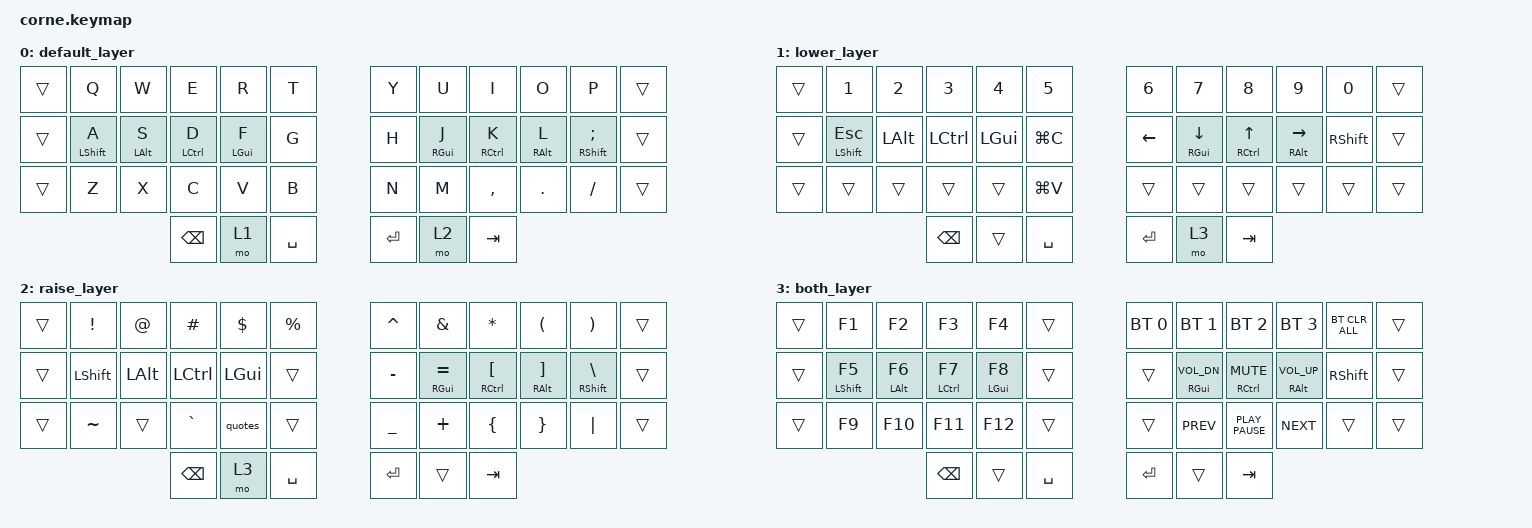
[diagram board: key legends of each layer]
/*
 * Copyright (c) 2020 The ZMK Contributors
 *
 * SPDX-License-Identifier: MIT
 */

#include <behaviors.dtsi>
#include <dt-bindings/zmk/bt.h>
#include <dt-bindings/zmk/keys.h>

#define default_layer 0
#define lower_layer   1
#define raise_layer   2
#define both_layer    3

/ {
    combos {
        compatible = "zmk,combos";

        combo_caps_word {
            timeout-ms = <300>;
            key-positions = <13 22>;
            bindings = <&caps_word>;
        };
    };
};

/ {
    behaviors {
        HomeMods: HomeMods {
            compatible = "zmk,behavior-hold-tap";
            label = "HOMEMODS";
            bindings = <&kp>, <&kp>;

            #binding-cells = <2>;
            tapping-term-ms = <200>;
            hold-trigger-key-positions = <13 14 15 16 19 20 21 22>;
        };

        quotes: quotes {
            compatible = "zmk,behavior-tap-dance";
            label = "QUOTES";
            #binding-cells = <0>;
            bindings = <&kp SINGLE_QUOTE>, <&kp DOUBLE_QUOTES>;

            tapping-term-ms = <200>;
        };
    };

    keymap {
        compatible = "zmk,keymap";

        default_layer {
            // -----------------------------------------------------------------------------------------
            // |  TAB |  Q  |  W  |  E  |  R  |  T  |   |  Y  |  U   |  I  |  O  |  P  | BKSP |
            // | CTRL |  A  |  S  |  D  |  F  |  G  |   |  H  |  J   |  K  |  L  |  ;  |  '   |
            // | SHFT |  Z  |  X  |  C  |  V  |  B  |   |  N  |  M   |  ,  |  .  |  /  | SHFT |
            //                    | GUI | LWR | SPC |   | ENT | RSE  | ALT |

            bindings = <
&trans  &kp Q                   &kp W                 &kp E              &kp R             &kp T        &kp Y    &kp U             &kp I              &kp O                  &kp P                       &trans
&trans  &HomeMods LEFT_SHIFT A  &HomeMods LEFT_ALT S  &HomeMods LCTRL D  &HomeMods LGUI F  &kp G        &kp H    &HomeMods RGUI J  &HomeMods RCTRL K  &HomeMods RIGHT_ALT L  &HomeMods RIGHT_SHIFT SEMI  &trans
&trans  &kp Z                   &kp X                 &kp C              &kp V             &kp B        &kp N    &kp M             &kp COMMA          &kp DOT                &kp FSLH                    &trans
                                                      &kp BACKSPACE      &mo 1             &kp SPACE    &kp RET  &mo 2             &kp TAB
            >;
        };

        lower_layer {
            // -----------------------------------------------------------------------------------------
            // |  ESC |  1  |  2  |  3  |  4  |  5   |   |  6  |  7  |  8  |  9  |  0  | BKSP |
            // | LCTRL|  F1 |  F2 |  F3 |  F4 | LG(C)|   | LFT | DWN |  UP | RGT |     |      |
            // | SHFT |  F5 |  F6 |  F7 |  F8 | LG(V)|   | F9  | F10 | F11 | F12 |     |      |
            //                    | GUI |     | SPC  |   | ENT | BOTH| ALT |

            bindings = <
&trans  &kp N1                       &kp N2        &kp N3         &kp N4    &kp N5       &kp N6    &kp N7                    &kp N8              &kp N9                     &kp N0      &trans
&trans  &HomeMods LEFT_SHIFT ESCAPE  &kp LEFT_ALT  &kp LCTRL      &kp LGUI  &kp LG(C)    &kp LEFT  &HomeMods RIGHT_GUI DOWN  &HomeMods RCTRL UP  &HomeMods RIGHT_ALT RIGHT  &kp RSHIFT  &trans
&trans  &trans                       &trans        &trans         &trans    &kp LG(V)    &trans    &trans                    &trans              &trans                     &trans      &trans
                                                   &kp BACKSPACE  &trans    &kp SPACE    &kp RET   &mo 3                     &kp TAB
            >;
        };

        raise_layer {
            // -----------------------------------------------------------------------------------------
            // |  TAB |  !  |  @  |  #  |  $  |  %  |   |  ^  |  &  |  *  |  (  |  )  | BKSP |
            // | CTRL |     |     |     |     |     |   |  -  |  =  |  [  |  ]  |  \  |  `   |
            // | SHFT |     |     |     |     |     |   |  _  |  +  |  {  |  }  | "|" |  ~   |
            //                    | GUI | BOTH| SPC |   | ENT |     | ALT |

            bindings = <
&trans  &kp EXCL    &kp AT        &kp HASH       &kp DLLR  &kp PRCNT    &kp CARET  &kp AMPS              &kp ASTRK             &kp LPAR                  &kp RPAR               &trans
&trans  &kp LSHIFT  &kp LEFT_ALT  &kp LCTRL      &kp LGUI  &trans       &kp MINUS  &HomeMods RGUI EQUAL  &HomeMods RCTRL LBKT  &HomeMods RIGHT_ALT RBKT  &HomeMods RSHIFT BSLH  &trans
&trans  &kp TILDE   &trans        &kp GRAVE      &quotes   &trans       &kp UNDER  &kp PLUS              &kp LBRC              &kp RBRC                  &kp PIPE               &trans
                                  &kp BACKSPACE  &mo 3     &kp SPACE    &kp RET    &trans                &kp TAB
            >;
        };

        both_layer {
            // -----------------------------------------------------------------------------------------
            // |  TAB |     |     |     |     |     |   |     | VUP |     |     |     |      |
            // | BTCLR| BT1 | BT2 | BT3 | BT4 | BT5 |   |     | VDW |     |     |     |      |
            // | SHFT |     |     |     |     |     |   |     | MUT |     |     |     |      |
            //                    | GUI |     | SPC |   | ENT |     | ALT |

            bindings = <
&trans  &kp F1               &kp F2                 &kp F3              &kp F4             &trans       &bt BT_SEL 0  &bt BT_SEL 1                  &bt BT_SEL 2            &bt BT_SEL 3                  &bt BT_CLR_ALL   &trans
&trans  &HomeMods LSHIFT F5  &HomeMods LEFT_ALT F6  &HomeMods LCTRL F7  &HomeMods LGUI F8  &trans       &trans        &HomeMods RIGHT_GUI C_VOL_DN  &HomeMods RCTRL C_MUTE  &HomeMods RIGHT_ALT C_VOL_UP  &kp RIGHT_SHIFT  &trans
&trans  &kp F9               &kp F10                &kp F11             &kp F12            &trans       &trans        &kp C_PREV                    &kp K_PLAY_PAUSE        &kp C_NEXT                    &trans           &trans
                                                    &kp BACKSPACE       &trans             &kp SPACE    &kp RET       &trans                        &kp TAB
            >;
        };
    };
}; 
